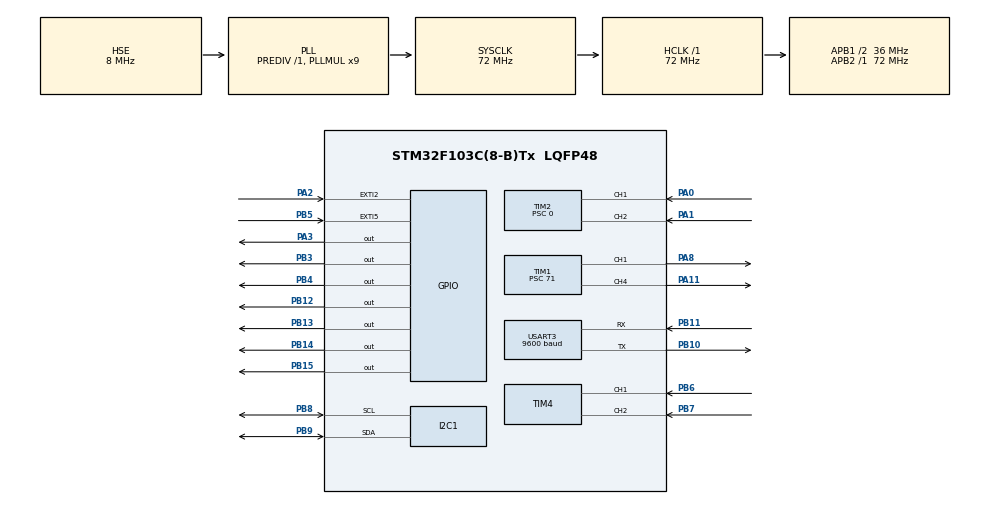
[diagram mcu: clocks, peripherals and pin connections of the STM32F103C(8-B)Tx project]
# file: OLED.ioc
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Mcu.Family=STM32F1
Mcu.Name=STM32F103C(8-B)Tx
Mcu.Package=LQFP48
NVIC.EXTI2_IRQn=true\:0\:0\:false\:false\:true\:true\:true\:true
NVIC.EXTI9_5_IRQn=true\:0\:0\:false\:false\:true\:true\:true\:true
NVIC.PriorityGroup=NVIC_PRIORITYGROUP_4
NVIC.USART3_IRQn=true\:0\:0\:false\:false\:true\:true\:true\:true
PA0-WKUP.Signal=S_TIM2_CH1_ETR
PA1.Signal=S_TIM2_CH2
PA11.Signal=S_TIM1_CH4
PA13.Mode=Serial_Wire
PA13.Signal=SYS_JTMS-SWDIO
PA14.Mode=Serial_Wire
PA14.Signal=SYS_JTCK-SWCLK
PA2.GPIO_ModeDefaultEXTI=GPIO_MODE_IT_RISING_FALLING
PA2.Signal=GPXTI2
PA3.GPIO_Speed=GPIO_SPEED_FREQ_HIGH
PA3.Signal=GPIO_Output
PA8.Signal=S_TIM1_CH1
PB10.Mode=Asynchronous
PB10.Signal=USART3_TX
PB11.Mode=Asynchronous
PB11.Signal=USART3_RX
PB12.Signal=GPIO_Output
PB13.Signal=GPIO_Output
PB14.Signal=GPIO_Output
PB15.Signal=GPIO_Output
PB3.Signal=GPIO_Output
PB4.Signal=GPIO_Output
PB5.GPIO_ModeDefaultEXTI=GPIO_MODE_IT_FALLING
PB5.GPIO_PuPd=GPIO_PULLUP
PB5.Signal=GPXTI5
PB6.Signal=S_TIM4_CH1
PB7.Signal=S_TIM4_CH2
PB8.Mode=I2C
PB8.Signal=I2C1_SCL
PB9.Mode=I2C
PB9.Signal=I2C1_SDA
PC14-OSC32_IN.Mode=LSE-External-Oscillator
PC14-OSC32_IN.Signal=RCC_OSC32_IN
PC15-OSC32_OUT.Mode=LSE-External-Oscillator
PC15-OSC32_OUT.Signal=RCC_OSC32_OUT
PD0-OSC_IN.Mode=HSE-External-Oscillator
PD0-OSC_IN.Signal=RCC_OSC_IN
PD1-OSC_OUT.Mode=HSE-External-Oscillator
PD1-OSC_OUT.Signal=RCC_OSC_OUT
ProjectManager.HeapSize=0x200
ProjectManager.StackSize=0x400
ProjectManager.TargetToolchain=MDK-ARM V5.32
RCC.AHBFreq_Value=72000000
RCC.APB1CLKDivider=RCC_HCLK_DIV2
RCC.APB1Freq_Value=36000000
RCC.APB1TimFreq_Value=72000000
RCC.APB2Freq_Value=72000000
RCC.APB2TimFreq_Value=72000000
RCC.HCLKFreq_Value=72000000
RCC.PLLMUL=RCC_PLL_MUL9
RCC.PLLSourceVirtual=RCC_PLLSOURCE_HSE
RCC.SYSCLKFreq_VALUE=72000000
RCC.SYSCLKSource=RCC_SYSCLKSOURCE_PLLCLK
RCC.USBFreq_Value=72000000
SH.S_TIM1_CH1.0=TIM1_CH1,PWM Generation1 CH1
SH.S_TIM1_CH4.0=TIM1_CH4,PWM Generation4 CH4
SH.S_TIM2_CH1_ETR.0=TIM2_CH1,Encoder_Interface
SH.S_TIM2_CH2.0=TIM2_CH2,Encoder_Interface
SH.S_TIM4_CH1.0=TIM4_CH1,Encoder_Interface
SH.S_TIM4_CH2.0=TIM4_CH2,Encoder_Interface
TIM1.Channel-PWM\ Generation1\ CH1=TIM_CHANNEL_1
TIM1.Channel-PWM\ Generation4\ CH4=TIM_CHANNEL_4
TIM1.Period=99
TIM1.Prescaler=71
TIM1.Pulse-PWM\ Generation1\ CH1=100
TIM1.Pulse-PWM\ Generation4\ CH4=100
TIM2.EncoderMode=TIM_ENCODERMODE_TI12
TIM2.Prescaler=0
TIM3.Prescaler=71
TIM4.EncoderMode=TIM_ENCODERMODE_TI12
USART3.BaudRate=9600
USART3.VirtualMode=VM_ASYNC
VP_TIM3_VS_ClockSourceINT.Mode=Internal
board=custom

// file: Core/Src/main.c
/* USER CODE BEGIN Header */
/**
  ******************************************************************************
  * @file           : main.c
  * @brief          : Main program body
  ******************************************************************************
  * @attention
  *
  * Copyright (c) 2024 STMicroelectronics.
  * All rights reserved.
  *
  * This software is licensed under terms that can be found in the LICENSE file
  * in the root directory of this software component.
  * If no LICENSE file comes with this software, it is provided AS-IS.
  *
  ******************************************************************************
  */
/* USER CODE END Header */
#include "main.h"
#include "i2c.h"
#include "tim.h"
#include "usart.h"
#include "gpio.h"

/* USER CODE BEGIN Includes */
#include "oled.h"
#include "IIC.h"
#include "inv_mpu.h"
#include "inv_mpu_dmp_motion_driver.h"
#include "mpu6050.h"
#include "stdio.h"
#include "sr04.h"
#include "motor.h"
#include "encode.h"
/* USER CODE END Includes */

/* USER CODE BEGIN PV */
extern int Encoder_left,Encoder_right;
extern float pitch,roll,yaw;
extern float real_roll;
extern short gyrox;
uint8_t display_buf[20];
extern float distance;
extern int Turn_out;
uint32_t sys_tick;

extern uint8_t rx_buf[2];
/* USER CODE END PV */

void SystemClock_Config(void);
/* USER CODE BEGIN PFP */
void read();
/* USER CODE END PFP */

int main(void)
{

  /* MCU Configuration--------------------------------------------------------*/

  /* Reset of all peripherals, Initializes the Flash interface and the Systick. */
  HAL_Init();

  /* Configure the system clock */
  SystemClock_Config();

  /* Initialize all configured peripherals */
  MX_GPIO_Init();
  MX_I2C1_Init();
  MX_TIM3_Init();
  MX_TIM1_Init();
  MX_TIM2_Init();
  MX_TIM4_Init();
  MX_USART3_UART_Init();
  /* USER CODE BEGIN 2 */
	OLED_Init();
	OLED_Clear();
	MPU_Init();
	int flag = 100;
	mpu_dmp_init(&flag);
	OLED_ShowString(0,00,"Init Sucess",16);

	HAL_NVIC_SetPriority(EXTI9_5_IRQn, 0, 0);
  HAL_NVIC_EnableIRQ(EXTI9_5_IRQn);

	HAL_TIM_PWM_Start(&htim1,TIM_CHANNEL_1);
	HAL_TIM_PWM_Start(&htim1,TIM_CHANNEL_4);

	HAL_TIM_Encoder_Start (&htim2, TIM_CHANNEL_ALL);
	HAL_TIM_Encoder_Start (&htim4, TIM_CHANNEL_ALL);
	HAL_UART_Receive_IT(&huart3,rx_buf,1);
	Load(0,0);
	OLED_Clear();
	HAL_UART_Transmit(&huart3,"Hello_world!\r\n", 13, 1000);
  /* USER CODE END 2 */

  /* Infinite loop */
  /* USER CODE BEGIN WHILE */
  while (1)
  {
//		read();
		sprintf((char *)display_buf,"Encoder_left:%d ",Encoder_left);
		OLED_ShowString(0,0,display_buf,16);
		sprintf((char *)display_buf,"Encoder_right:%d ",Encoder_right);
		OLED_ShowString(0,2,display_buf,16);
		HAL_Delay(100);
		mpu_dmp_get_data(&pitch,&roll,&yaw);
		sprintf((char *)display_buf,"roll:%.2f   ",(float)roll);
		OLED_ShowString(0,4,display_buf,16);
		sprintf((char *)display_buf,"real_roll:%.2f   ",(float)real_roll);
		OLED_ShowString(0,6,display_buf,16);
//		sprintf((char *)display_buf,"flag:%d ",flag);
//		OLED_ShowString(0,6,display_buf,16);
//
		HAL_UART_Transmit(&huart3,display_buf, sizeof(display_buf), 1000);
//		GET_Distance();
//		sprintf((char *)display_buf,"distance:%.2f   ",distance);
//		OLED_ShowString(0,4,display_buf,12);
    /* USER CODE END WHILE */

  }
}

void SystemClock_Config(void)
{
  RCC_OscInitTypeDef RCC_OscInitStruct = {0};
  RCC_ClkInitTypeDef RCC_ClkInitStruct = {0};

  /** Initializes the RCC Oscillators according to the specified parameters
  * in the RCC_OscInitTypeDef structure.
  */
  RCC_OscInitStruct.OscillatorType = RCC_OSCILLATORTYPE_HSE;
  RCC_OscInitStruct.HSEState = RCC_HSE_ON;
  RCC_OscInitStruct.HSEPredivValue = RCC_HSE_PREDIV_DIV1;
  RCC_OscInitStruct.HSIState = RCC_HSI_ON;
  RCC_OscInitStruct.PLL.PLLState = RCC_PLL_ON;
  RCC_OscInitStruct.PLL.PLLSource = RCC_PLLSOURCE_HSE;
  RCC_OscInitStruct.PLL.PLLMUL = RCC_PLL_MUL9;
  if (HAL_RCC_OscConfig(&RCC_OscInitStruct) != HAL_OK)
  {
    Error_Handler();
  }

  /** Initializes the CPU, AHB and APB buses clocks
  */
  RCC_ClkInitStruct.ClockType = RCC_CLOCKTYPE_HCLK|RCC_CLOCKTYPE_SYSCLK
                              |RCC_CLOCKTYPE_PCLK1|RCC_CLOCKTYPE_PCLK2;
  RCC_ClkInitStruct.SYSCLKSource = RCC_SYSCLKSOURCE_PLLCLK;
  RCC_ClkInitStruct.AHBCLKDivider = RCC_SYSCLK_DIV1;
  RCC_ClkInitStruct.APB1CLKDivider = RCC_HCLK_DIV2;
  RCC_ClkInitStruct.APB2CLKDivider = RCC_HCLK_DIV1;

  if (HAL_RCC_ClockConfig(&RCC_ClkInitStruct, FLASH_LATENCY_2) != HAL_OK)
  {
    Error_Handler();
  }
}

/* USER CODE BEGIN 4 */
	void read(){
		if(uwTick-sys_tick<10)
			return ;
		sys_tick = uwTick;

		Encoder_left =read_speed(&htim2);
		Encoder_right =-read_speed(&htim4);
	}
/* USER CODE END 4 */

void Error_Handler(void)
{
  __disable_irq();
  while (1)
  {
  }
}
